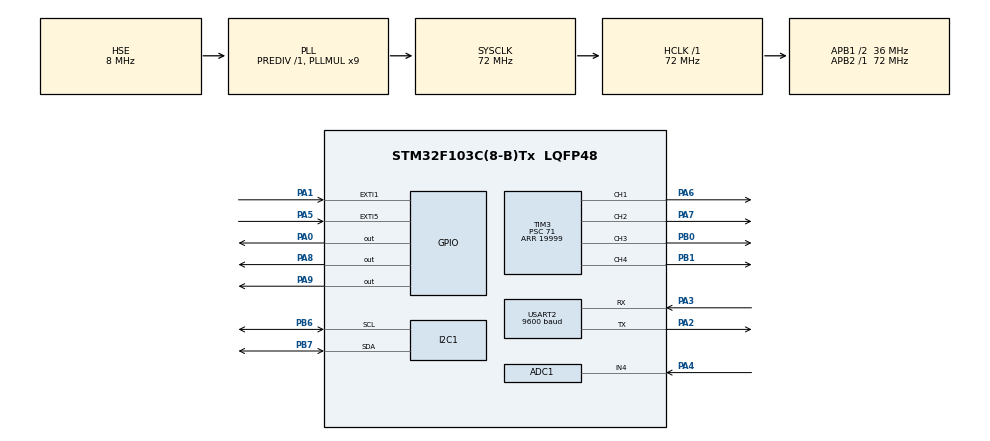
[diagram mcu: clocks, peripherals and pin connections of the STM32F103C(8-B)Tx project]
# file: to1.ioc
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ADC1.Channel-1\#ChannelRegularConversion=ADC_CHANNEL_4
ADC1.ContinuousConvMode=ENABLE
ADC1.NbrOfConversionFlag=1
ADC1.Rank-1\#ChannelRegularConversion=1
ADC1.SamplingTime-1\#ChannelRegularConversion=ADC_SAMPLETIME_55CYCLES_5
ADC1.master=1
Dma.ADC1.0.Direction=DMA_PERIPH_TO_MEMORY
Dma.ADC1.0.Instance=DMA1_Channel1
Dma.ADC1.0.MemDataAlignment=DMA_MDATAALIGN_HALFWORD
Dma.ADC1.0.MemInc=DMA_MINC_ENABLE
Dma.ADC1.0.Mode=DMA_CIRCULAR
Dma.ADC1.0.PeriphDataAlignment=DMA_PDATAALIGN_HALFWORD
Dma.ADC1.0.PeriphInc=DMA_PINC_DISABLE
Dma.ADC1.0.Priority=DMA_PRIORITY_LOW
Dma.Request0=ADC1
Mcu.Family=STM32F1
Mcu.Name=STM32F103C(8-B)Tx
Mcu.Package=LQFP48
NVIC.ADC1_2_IRQn=true\:0\:0\:false\:false\:true\:true\:true
NVIC.DMA1_Channel1_IRQn=true\:0\:0\:false\:false\:true\:false\:true
NVIC.EXTI1_IRQn=true\:0\:0\:false\:false\:true\:true\:true
NVIC.EXTI9_5_IRQn=true\:0\:0\:false\:false\:true\:true\:true
NVIC.PriorityGroup=NVIC_PRIORITYGROUP_4
NVIC.TIM4_IRQn=true\:0\:0\:false\:false\:true\:true\:true
NVIC.USART2_IRQn=true\:0\:0\:false\:false\:true\:true\:true
PA0-WKUP.Signal=GPIO_Output
PA1.Signal=GPXTI1
PA13.Mode=Serial_Wire
PA13.Signal=SYS_JTMS-SWDIO
PA14.Mode=Serial_Wire
PA14.Signal=SYS_JTCK-SWCLK
PA2.Mode=Asynchronous
PA2.Signal=USART2_TX
PA3.Mode=Asynchronous
PA3.Signal=USART2_RX
PA4.Signal=SharedAnalog_PA4
PA5.GPIO_PuPd=GPIO_PULLDOWN
PA5.Signal=GPXTI5
PA6.Signal=S_TIM3_CH1
PA7.Signal=S_TIM3_CH2
PA8.Signal=GPIO_Output
PA9.Signal=GPIO_Output
PB0.Signal=S_TIM3_CH3
PB1.Signal=S_TIM3_CH4
PB6.Mode=I2C
PB6.Signal=I2C1_SCL
PB7.Mode=I2C
PB7.Signal=I2C1_SDA
PD0-OSC_IN.Mode=HSE-External-Oscillator
PD0-OSC_IN.Signal=RCC_OSC_IN
PD1-OSC_OUT.Mode=HSE-External-Oscillator
PD1-OSC_OUT.Signal=RCC_OSC_OUT
ProjectManager.HeapSize=0x200
ProjectManager.StackSize=0x400
ProjectManager.TargetToolchain=MDK-ARM V5.27
RCC.ADCPresc=RCC_ADCPCLK2_DIV6
RCC.AHBFreq_Value=72000000
RCC.APB1CLKDivider=RCC_HCLK_DIV2
RCC.APB1Freq_Value=36000000
RCC.APB1TimFreq_Value=72000000
RCC.APB2Freq_Value=72000000
RCC.APB2TimFreq_Value=72000000
RCC.HCLKFreq_Value=72000000
RCC.PLLMUL=RCC_PLL_MUL9
RCC.PLLSourceVirtual=RCC_PLLSOURCE_HSE
RCC.SYSCLKFreq_VALUE=72000000
RCC.SYSCLKSource=RCC_SYSCLKSOURCE_PLLCLK
RCC.USBFreq_Value=72000000
SH.S_TIM3_CH1.0=TIM3_CH1,PWM Generation1 CH1
SH.S_TIM3_CH2.0=TIM3_CH2,PWM Generation2 CH2
SH.S_TIM3_CH3.0=TIM3_CH3,PWM Generation3 CH3
SH.S_TIM3_CH4.0=TIM3_CH4,PWM Generation4 CH4
SH.SharedAnalog_PA4.0=GPIO_Analog
SH.SharedAnalog_PA4.1=ADC1_IN4,IN4
TIM1.Period=65535
TIM1.Prescaler=71
TIM2.Period=65535
TIM2.Prescaler=71
TIM3.Channel-PWM\ Generation1\ CH1=TIM_CHANNEL_1
TIM3.Channel-PWM\ Generation2\ CH2=TIM_CHANNEL_2
TIM3.Channel-PWM\ Generation3\ CH3=TIM_CHANNEL_3
TIM3.Channel-PWM\ Generation4\ CH4=TIM_CHANNEL_4
TIM3.Period=19999
TIM3.Prescaler=71
TIM3.Pulse-PWM\ Generation1\ CH1=1500
TIM3.Pulse-PWM\ Generation2\ CH2=1500
TIM3.Pulse-PWM\ Generation3\ CH3=1500
TIM3.Pulse-PWM\ Generation4\ CH4=1500
TIM4.Period=1999
TIM4.Prescaler=719
USART2.BaudRate=9600
USART2.VirtualMode=VM_ASYNC
VP_TIM1_VS_ClockSourceINT.Mode=Internal
VP_TIM2_VS_ClockSourceINT.Mode=Internal
VP_TIM3_VS_ClockSourceINT.Mode=Internal
VP_TIM4_VS_ClockSourceINT.Mode=Internal
board=custom

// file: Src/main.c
/* USER CODE BEGIN Header */
/**
  ******************************************************************************
  * @file           : main.c
  * @brief          : Main program body
  ******************************************************************************
  * @attention
  *
  * <h2><center>&copy; Copyright (c) 2020 STMicroelectronics.
  * All rights reserved.</center></h2>
  *
  * This software component is licensed by ST under BSD 3-Clause license,
  * the "License"; You may not use this file except in compliance with the
  * License. You may obtain a copy of the License at:
  *                        opensource.org/licenses/BSD-3-Clause
  *
  ******************************************************************************
  */
/* USER CODE END Header */

#include "main.h"
#include "adc.h"
#include "dma.h"
#include "i2c.h"
#include "tim.h"
#include "usart.h"
#include "gpio.h"

/* USER CODE BEGIN Includes */

#include "mpu9250.h"
#include "math.h"
#include "inv_mpu_dmp_motion_driver.h"
#include "inv_mpu.h"
/* USER CODE END Includes */

/* USER CODE BEGIN PTD */
#define ROLL     0
#define PITCH    1
#define YAW      2

#define XAXIS    0
#define YAXIS    1
#define ZAXIS    2
#define SQR(x)  ((x) * (x))
#define Kp 5.0f                       // proportional gain governs rate of convergence toaccelerometer/magnetometer
	 //Kp比例增益 决定了加速度计和磁力计的收敛速度
#define Ki 0.002f          // integral gain governs rate of convergenceof gyroscope biases
		//Ki积分增益 决定了陀螺仪偏差的收敛速度
     // half the sample period
		//halfT采样周期的一半

static float q0=1.0f,q1=0.0f,q2=0.0f,q3=0.0f;
static float exInt = 0, eyInt = 0, ezInt = 0;
float init_ax, init_ay, init_az, init_gx, init_gy, init_gz, init_mx, init_my, init_mz;
//static signed short int turns=0;
//static float newdata=0.0f,olddata=0.0f;

//static float pitchoffset,rolloffset,yawoffset;

static float halfT=0;
static float k10=0.0f,k11=0.0f,k12=0.0f,k13=0.0f;
static float k20=0.0f,k21=0.0f,k22=0.0f,k23=0.0f;
static float k30=0.0f,k31=0.0f,k32=0.0f,k33=0.0f;
static float k40=0.0f,k41=0.0f,k42=0.0f,k43=0.0f;

float pitch,roll,yaw;
float invSqrt(float number);
void AHRSupdate(float gx, float gy, float gz, float ax, float ay, float az, float mx, float my, float mz,float *roll,float *pitch,float *yaw);
void CountTurns(float *newdata,float *olddata,signed short int *turns);
void CalYaw(float *yaw,signed short int *turns);
void CalibrateToZero(void);
void init_quaternion(void);
uint16_t sphereFit(float    d[][3],
                   uint16_t N,
                   uint16_t MaxIterations,
                   float    Err,
                   uint16_t Population[][3],
                   float    SphereOrigin[],
                   float     *SphereRadius);

const float x=2.718f;
const uint32_t addr = 0x0800FC00;

void writeFlashTest(float a, float b, float c)
{
  HAL_FLASH_Unlock();

	FLASH_EraseInitTypeDef f;
	f.TypeErase = FLASH_TYPEERASE_PAGES;
	f.PageAddress = addr;
	f.NbPages = 1;

	uint32_t PageError = 0;

	HAL_FLASHEx_Erase(&f, &PageError);

	HAL_FLASH_Program(FLASH_TYPEPROGRAM_WORD, addr, *((uint32_t *)&x));
		HAL_FLASH_Program(FLASH_TYPEPROGRAM_WORD, addr+4, *((uint32_t *)&a));
		HAL_FLASH_Program(FLASH_TYPEPROGRAM_WORD, addr+8, *((uint32_t *)&b));
		HAL_FLASH_Program(FLASH_TYPEPROGRAM_WORD, addr+12, *((uint32_t *)&c));

  HAL_FLASH_Lock();
}

float chexx(unsigned int a)
{
  float temp = *(__IO float*)(addr+a);
	return temp;
}

float chex(void)
{
  float temp = *(__IO float*)(addr);
	return temp;
}
/* USER CODE END PTD */

/* USER CODE BEGIN PV */
	uint16_t acd[1];
	int sr=0;
	int dis=10000;
	int trip=0;

	float    d[200][3];
    float    sphereOrigin[3];
    float    sphereRadius;
   uint16_t population[2][3];
/* USER CODE END PV */

void SystemClock_Config(void);

/* USER CODE BEGIN 0 */
int fputc(int ch,FILE *f)
{
    uint8_t temp[1]={ch};
    HAL_UART_Transmit(&huart2,temp,1,2);
		return 0;
}
/* USER CODE END 0 */

int main(void)
{
  /* USER CODE BEGIN 1 */
	struct int_param_s int_param;

//	signed short int test;

	signed short int igx,igy,igz;
	signed short int iax,iay,iaz;
	signed short int imx,imy,imz;
	float gx,gy,gz;
	float ax,ay,az;
	float mx,my,mz;
	int k;
  /* USER CODE END 1 */

  /* MCU Configuration--------------------------------------------------------*/

  /* Reset of all peripherals, Initializes the Flash interface and the Systick. */
  HAL_Init();

  /* Configure the system clock */
  SystemClock_Config();

  /* Initialize all configured peripherals */
  MX_GPIO_Init();

  MX_DMA_Init();
  MX_ADC1_Init();
  MX_I2C1_Init();
  MX_TIM1_Init();
  MX_TIM2_Init();
  MX_TIM3_Init();
  MX_TIM4_Init();
  MX_USART2_UART_Init();
  /* USER CODE BEGIN 2 */
	HAL_TIM_PWM_Start(&htim3,TIM_CHANNEL_1);
	HAL_TIM_PWM_Start(&htim3,TIM_CHANNEL_2);
	HAL_TIM_PWM_Start(&htim3,TIM_CHANNEL_3);
	HAL_TIM_PWM_Start(&htim3,TIM_CHANNEL_4);
	HAL_ADC_Start_DMA(&hadc1,(uint32_t *)acd,1);
	HAL_TIM_Base_Start_IT(&htim1);

		mpu_init(&int_param);
	 mpu_set_sensors(INV_XYZ_GYRO | INV_XYZ_ACCEL | INV_XYZ_COMPASS);
	  MPU_Write_Byte(MPU9250_ADDR,MPU_PWR_MGMT1_REG,0X01);
	mpu_set_gyro_fsr(250);
	 mpu_set_accel_fsr(2);
	 mpu_set_lpf(98);
	 mpu_set_sample_rate(1000);
	mpu_set_bypass(1);
 HAL_Delay(200);
 if(chex()==x){
		magoffsetx = chexx(4);
		magoffsety = chexx(8);
		magoffsetz = chexx(12);
 }else{
	   for(k=0;k<200;k++){
	 		MPU_Get_Gyro(&igx,&igy,&igz,&gx,&gy,&gz);
			MPU_Get_Accel(&iax,&iay,&iaz,&ax,&ay,&az);
			MPU_Get_Mag(&imx,&imy,&imz,&mx,&my,&mz);
			d[k][XAXIS] = mx;
      d[k][YAXIS] = my;
      d[k][ZAXIS] = mz;
			HAL_Delay(100);
		}
			sphereFit(d, 200, 100, 0.0f, population, sphereOrigin, &sphereRadius);
			magoffsetx = sphereOrigin[XAXIS];
			magoffsety = sphereOrigin[YAXIS];
			magoffsetz = sphereOrigin[ZAXIS];
			writeFlashTest(magoffsetx,magoffsety,magoffsetz);
 }

 	HAL_UART_Receive_IT(&huart2,(uint8_t *)&value,1);
  HAL_TIM_Base_Start_IT(&htim2);
	HAL_TIM_Base_Start_IT(&htim4);
 HAL_GPIO_WritePin(GPIOA,GPIO_PIN_8,GPIO_PIN_SET);
  /* USER CODE END 2 */

  /* Infinite loop */
  while (1)
  {
				MPU_Get_Gyro(&igx,&igy,&igz,&gx,&gy,&gz);
				MPU_Get_Accel(&iax,&iay,&iaz,&ax,&ay,&az);
				MPU_Get_Mag(&imx,&imy,&imz,&mx,&my,&mz);

			AHRSupdate(gx,gy,gz,ax,ay,az,mx,my,mz,&roll,&pitch,&yaw);

		mx=GET_HALFNOWTIME();

		HAL_Delay(5);
  }
}

void SystemClock_Config(void)
{
  RCC_OscInitTypeDef RCC_OscInitStruct = {0};
  RCC_ClkInitTypeDef RCC_ClkInitStruct = {0};
  RCC_PeriphCLKInitTypeDef PeriphClkInit = {0};

  /** Initializes the CPU, AHB and APB busses clocks
  */
  RCC_OscInitStruct.OscillatorType = RCC_OSCILLATORTYPE_HSE;
  RCC_OscInitStruct.HSEState = RCC_HSE_ON;
  RCC_OscInitStruct.HSEPredivValue = RCC_HSE_PREDIV_DIV1;
  RCC_OscInitStruct.HSIState = RCC_HSI_ON;
  RCC_OscInitStruct.PLL.PLLState = RCC_PLL_ON;
  RCC_OscInitStruct.PLL.PLLSource = RCC_PLLSOURCE_HSE;
  RCC_OscInitStruct.PLL.PLLMUL = RCC_PLL_MUL9;
  if (HAL_RCC_OscConfig(&RCC_OscInitStruct) != HAL_OK)
  {
    Error_Handler();
  }
  /** Initializes the CPU, AHB and APB busses clocks
  */
  RCC_ClkInitStruct.ClockType = RCC_CLOCKTYPE_HCLK|RCC_CLOCKTYPE_SYSCLK
                              |RCC_CLOCKTYPE_PCLK1|RCC_CLOCKTYPE_PCLK2;
  RCC_ClkInitStruct.SYSCLKSource = RCC_SYSCLKSOURCE_PLLCLK;
  RCC_ClkInitStruct.AHBCLKDivider = RCC_SYSCLK_DIV1;
  RCC_ClkInitStruct.APB1CLKDivider = RCC_HCLK_DIV2;
  RCC_ClkInitStruct.APB2CLKDivider = RCC_HCLK_DIV1;

  if (HAL_RCC_ClockConfig(&RCC_ClkInitStruct, FLASH_LATENCY_2) != HAL_OK)
  {
    Error_Handler();
  }
  PeriphClkInit.PeriphClockSelection = RCC_PERIPHCLK_ADC;
  PeriphClkInit.AdcClockSelection = RCC_ADCPCLK2_DIV6;
  if (HAL_RCCEx_PeriphCLKConfig(&PeriphClkInit) != HAL_OK)
  {
    Error_Handler();
  }
}

/* USER CODE BEGIN 4 */

float invSqrt(float number)
{
	long i;
	float x,y;
	const float f=1.5f;

	x=number*0.5f;
	y=number;
	i=*((long*)&y);
	i=0x5f375a86-(i>>1);
	y=*((float *)&i);
	y=y*(f-(x*y*y));
	return y;
}

void AHRSupdate(float gx, float gy, float gz, float ax, float ay, float az, float mx, float my, float mz,float *roll,float *pitch,float *yaw)
{
           float norm;									//用于单位化
           float hx, hy, hz, bx, bz;		//
           float vx, vy, vz, wx, wy, wz;
           float ex, ey, ez;
//					 float tmp0,tmp1,tmp2,tmp3;

           // auxiliary variables to reduce number of repeated operations  辅助变量减少重复操作次数
           float q0q0 = q0*q0;
           float q0q1 = q0*q1;
           float q0q2 = q0*q2;
           float q0q3 = q0*q3;
           float q1q1 = q1*q1;
           float q1q2 = q1*q2;
           float q1q3 = q1*q3;
           float q2q2 = q2*q2;
           float q2q3 = q2*q3;
           float q3q3 = q3*q3;

           // normalise the measurements  对加速度计和磁力计数据进行规范化
           norm = invSqrt(ax*ax + ay*ay + az*az);
           ax = ax * norm;
           ay = ay * norm;
           az = az * norm;
           norm = invSqrt(mx*mx + my*my + mz*mz);
           mx = mx * norm;
           my = my * norm;
           mz = mz * norm;
//
//					printf("%0.2f %0.2f %0.2f ",mx,my,mz);

//					printf("hx=%0.2f hy=%0.2f hz=%0.2f ",hx,hy,hz);
//					printf("q0=%0.2f q1=%0.2f q2=%0.2f q3=%0.2f ",q0,q1,q2,q3);
// estimated direction of gravity and magnetic field (v and w)  //估计重力和磁场的方向
//vx,vy,vz是重力加速度在物体坐标系的表示
           vx = 2.0f*(q1q3 - q0q2);
           vy = 2.0f*(q0q1 + q2q3);
           vz = q0q0 - q1q1 - q2q2 + q3q3;

					            // compute reference direction of magnetic field  计算磁场的参考方向
					 //hx,hy,hz是mx,my,mz在参考坐标系的表示
           hx = 2.0f*mx*(0.5f - q2q2 - q3q3) + 2.0f*my*(q1q2 - q0q3) + 2.0f*mz*(q1q3 + q0q2);
           hy = 2.0f*mx*(q1q2 + q0q3) + 2.0f*my*(0.5f - q1q1 - q3q3) + 2.0f*mz*(q2q3 - q0q1);
           hz = 2.0f*mx*(q1q3 - q0q2) + 2.0f*my*(q2q3 + q0q1) + 2.0f*mz*(0.5f - q1q1 -q2q2);
						//bx,by,bz是地球磁场在参考坐标系的表示
           bx = sqrtf((hx*hx) + (hy*hy));
           bz = hz;

//						printf("%f %f ",bx,bz);
					 //wx,wy,wz是地磁场在物体坐标系的表示
           wx = 2.0f*bx*(0.5f - q2q2 - q3q3) + 2.0f*bz*(q1q3 - q0q2);
           wy = 2.0f*bx*(q1q2 - q0q3) + 2.0f*bz*(q0q1 + q2q3);
           wz = 2.0f*bx*(q0q2 + q1q3) + 2.0f*bz*(0.5f - q1q1 - q2q2);

////
//					printf("wx=%0.2f wy=%0.2f wz=%0.2f mx=%0.2f my=%0.2f mz=%0.2f ",wx,wy,wz,mx,my,mz);
// error is sum ofcross product between reference direction of fields and directionmeasured by sensors
//ex,ey,ez是加速度计与磁力计测量出的方向与实际重力加速度与地磁场方向的误差，误差用叉积来表示，且加速度计与磁力计的权重是一样的
           ex = (ay*vz - az*vy) + (my*wz - mz*wy);
           ey = (az*vx - ax*vz) + (mz*wx - mx*wz);
           ez = (ax*vy - ay*vx) + (mx*wy - my*wx);
// ez = (mx*wy - my*wx);
//					 ex = (ay*vz - az*vy);
//           ey = (az*vx - ax*vz);
//           ez = (ax*vy - ay*vx) + (mx*wy - my*wx);
//					printf("eaz=%0.2f emz=%0.2f  ",(ax*vy - ay*vx),(mx*wy - my*wx));
           // integral error scaled integral gain
					 //积分误差

				halfT=GET_HALFNOWTIME();

//			if(ex != 0.0f && ey != 0.0f && ez != 0.0f)
			{
           exInt = exInt + ex*halfT;
           eyInt = eyInt + ey*halfT;
           ezInt = ezInt + ez*halfT;

					// printf("exInt=%0.1f eyInt=%0.1f ezInt=%0.1f ",exInt,eyInt,ezInt);
           // adjusted gyroscope measurements
					 //PI调节陀螺仪数据
           gx = gx + Kp*ex + Ki*exInt;
           gy = gy + Kp*ey + Ki*eyInt;
           gz = gz + Kp*ez + Ki*ezInt;

			}
//					 printf("x=%0.1f y=%0.1f z=%0.1f	",Kp*ex + exInt,Kp*ey + eyInt,Kp*ez + ezInt);

           // integrate quaernion rate aafnd normalaizle
					 //欧拉法解微分方程

//
//           tmp0 = q0 + (-q1*gx - q2*gy - q3*gz)*halfT;
//           tmp1 = q1 + ( q0*gx + q2*gz - q3*gy)*halfT;
//           tmp2 = q2 + ( q0*gy - q1*gz + q3*gx)*halfT;
//           tmp3 = q3 + ( q0*gz + q1*gy - q2*gx)*halfT;
//					 q0=tmp0;
//					 q1=tmp1;
//					 q2=tmp2;
//					 q3=tmp3;
					 //printf("q0=%0.1f q1=%0.1f q2=%0.1f q3=%0.1f",q0,q1,q2,q3);
////RUNGE_KUTTA 法解微分方程
					  k10=0.5 * (-gx*q1 - gy*q2 - gz*q3);
						k11=0.5 * ( gx*q0 + gz*q2 - gy*q3);
						k12=0.5 * ( gy*q0 - gz*q1 + gx*q3);
						k13=0.5 * ( gz*q0 + gy*q1 - gx*q2);

						k20=0.5 * (halfT*(q0+halfT*k10) + (halfT-gx)*(q1+halfT*k11) + (halfT-gy)*(q2+halfT*k12) + (halfT-gz)*(q3+halfT*k13));
						k21=0.5 * ((halfT+gx)*(q0+halfT*k10) + halfT*(q1+halfT*k11) + (halfT+gz)*(q2+halfT*k12) + (halfT-gy)*(q3+halfT*k13));
						k22=0.5 * ((halfT+gy)*(q0+halfT*k10) + (halfT-gz)*(q1+halfT*k11) + halfT*(q2+halfT*k12) + (halfT+gx)*(q3+halfT*k13));
						k23=0.5 * ((halfT+gz)*(q0+halfT*k10) + (halfT+gy)*(q1+halfT*k11) + (halfT-gx)*(q2+halfT*k12) + halfT*(q3+halfT*k13));

						k30=0.5 * (halfT*(q0+halfT*k20) + (halfT-gx)*(q1+halfT*k21) + (halfT-gy)*(q2+halfT*k22) + (halfT-gz)*(q3+halfT*k23));
						k31=0.5 * ((halfT+gx)*(q0+halfT*k20) + halfT*(q1+halfT*k21) + (halfT+gz)*(q2+halfT*k22) + (halfT-gy)*(q3+halfT*k23));
						k32=0.5 * ((halfT+gy)*(q0+halfT*k20) + (halfT-gz)*(q1+halfT*k21) + halfT*(q2+halfT*k22) + (halfT+gx)*(q3+halfT*k23));
						k33=0.5 * ((halfT+gz)*(q0+halfT*k20) + (halfT+gy)*(q1+halfT*k21) + (halfT-gx)*(q2+halfT*k22) + halfT*(q3+halfT*k23));

						k40=0.5 * (2*halfT*(q0+2*halfT*k30) + (2*halfT-gx)*(q1+2*halfT*k31) + (2*halfT-gy)*(q2+2*halfT*k32) + (2*halfT-gz)*(q3+2*halfT*k33));
						k41=0.5 * ((2*halfT+gx)*(q0+2*halfT*k30) + 2*halfT*(q1+2*halfT*k31) + (2*halfT+gz)*(q2+2*halfT*k32) + (2*halfT-gy)*(q3+2*halfT*k33));
						k42=0.5 * ((2*halfT+gy)*(q0+2*halfT*k30) + (2*halfT-gz)*(q1+2*halfT*k31) + 2*halfT*(q2+2*halfT*k32) + (2*halfT+gx)*(q3+2*halfT*k33));
						k43=0.5 * ((2*halfT+gz)*(q0+2*halfT*k30) + (2*halfT+gy)*(q1+2*halfT*k31) + (2*halfT-gx)*(q2+2*halfT*k32) + 2*halfT*(q3+2*halfT*k33));

						q0=q0 + 2*halfT/6.0 * (k10+2*k20+2*k30+k40);
						q1=q1 + 2*halfT/6.0 * (k11+2*k21+2*k31+k41);
						q2=q2 + 2*halfT/6.0 * (k12+2*k22+2*k32+k42);
						q3=q3 + 2*halfT/6.0 * (k13+2*k23+2*k33+k43);

           // normalise quaternion
           norm = invSqrt(q0*q0 + q1*q1 + q2*q2 + q3*q3);
           q0 = q0 * norm;
           q1 = q1 * norm;
           q2 = q2 * norm;
           q3 = q3 * norm;

					 *pitch = -asin(-2 * q1 * q3 + 2 * q0 * q2)* 57.3;	// pitch
					 *roll  = atan2(2 * q2 * q3 + 2 * q0 * q1, -2 * q1 * q1 - 2 * q2 * q2 + 1)* 57.3;	// roll
					 *yaw   = -atan2(2*(q1*q2 + q0*q3),q0*q0+q1*q1-q2*q2-q3*q3) * 57.3;	//yaw

}

uint16_t sphereFit(float    d[][3],
                   uint16_t N,
                   uint16_t MaxIterations,
                   float    Err,
                   uint16_t Population[][3],
                   float    SphereOrigin[],
                   float     *SphereRadius)
{
    uint8_t  c;
    uint16_t i, Iterations;
    float    s[3], s2[3], s3[3], sum[3], sum2[3], sum3[3];
    float    x2sum[3], y2sum[3], z2sum[3];
    float    xy_sum, xz_sum, yz_sum;
    float    XY, XZ, YZ, X2Z, Y2X, Y2Z, Z2X, X2Y, Z2Y;
    float    QS, QB, Q0, Q1, Q2;
    float    R2, C[3], C2[3], Delta[3], Denom[3];
    float    F0, F1, F2, F3, F4;
    float    di2[3];
    float    SizeR;

    for (c = XAXIS; c <= ZAXIS; c++)
    {
        s[c] = s2[c] = s3[c] = sum[c] = x2sum[c] = y2sum[c] = z2sum[c] = 0.0f;

        Population[0][c] = Population[1][c] = 0;
    }

    xy_sum = xz_sum = yz_sum = 0.0f;

    for (i = 0; i < N; i++)
    {
        for (c = XAXIS; c <= ZAXIS; c++)
        {
            di2[c] = SQR(d[i][c]);

            s[c]  += d[i][c];
            s2[c] += di2[c];
            s3[c] += di2[c] * d[i][c];

            Population[d[i][c] > 0.0f][c]++;
        }

        xy_sum += d[i][XAXIS] * d[i][YAXIS];
        xz_sum += d[i][XAXIS] * d[i][ZAXIS];
        yz_sum += d[i][YAXIS] * d[i][ZAXIS];

        x2sum[YAXIS] += di2[XAXIS] * d[i][YAXIS];
        x2sum[ZAXIS] += di2[XAXIS] * d[i][ZAXIS];

        y2sum[XAXIS] += di2[YAXIS] * d[i][XAXIS];
        y2sum[ZAXIS] += di2[YAXIS] * d[i][ZAXIS];

        z2sum[XAXIS] += di2[ZAXIS] * d[i][XAXIS];
        z2sum[YAXIS] += di2[ZAXIS] * d[i][YAXIS];
    }

    SizeR = 1.0f / (float) N;

    for (c = XAXIS; c <= ZAXIS; c++)
    {
        sum[c]  = s[c]  * SizeR; //sum( X[n]   )
        sum2[c] = s2[c] * SizeR; //sum( X[n]^2 )
        sum3[c] = s3[c] * SizeR; //sum( X[n]^3 )
    }

    XY = xy_sum * SizeR;         //sum( X[n] * Y[n] )
    XZ = xz_sum * SizeR;         //sum( X[n] * Z[n] )
    YZ = yz_sum * SizeR;         //sum( Y[n] * Z[n] )

    X2Y = x2sum[YAXIS] * SizeR;  //sum( X[n]^2 * Y[n] )
    X2Z = x2sum[ZAXIS] * SizeR;  //sum( X[n]^2 * Z[n] )
    Y2X = y2sum[XAXIS] * SizeR;  //sum( Y[n]^2 * X[n] )
    Y2Z = y2sum[ZAXIS] * SizeR;  //sum( Y[n]^2 * Z[n] )
    Z2X = z2sum[XAXIS] * SizeR;  //sum( Z[n]^2 * X[n] )
    Z2Y = z2sum[YAXIS] * SizeR;  //sum( Z[n]^2 * Y[n] )

    //Reduction of multiplications
    F0 = sum2[XAXIS] + sum2[YAXIS] + sum2[ZAXIS];
    F1 = 0.5f * F0;
    F2 = -8.0f * (sum3[XAXIS] + Y2X + Z2X);
    F3 = -8.0f * (X2Y + sum3[YAXIS] + Z2Y);
    F4 = -8.0f * (X2Z + Y2Z + sum3[ZAXIS]);

    for (c = XAXIS; c <= ZAXIS; c++)
    {
        C[c]  = sum[c];
        C2[c] = SQR(C[c]);
    }

    QS = C2[XAXIS] + C2[YAXIS] + C2[ZAXIS];
    QB = -2.0f * (SQR(C[XAXIS]) + SQR(C[YAXIS]) + SQR(C[ZAXIS]));
    R2 = F0 + QB + QS;
    Q0 = 0.5f * (QS - R2);
    Q1 = F1 + Q0;
    Q2 = 8.0f * (QS - R2 + QB + F0);

    Iterations = 0;

    do
    {
        for (c = XAXIS; c <= ZAXIS; c++)
        {
            Denom[c] = Q2 + 16.0f * (C2[c] - 2.0f * C[c] * sum[c] + sum2[c]);

            if (Denom[c] == 0.0f)
                Denom[c] = 1.0f;
        }

        Delta[XAXIS] = -((F2 + 16.0f * (C[YAXIS] * XY + C[ZAXIS] * XZ + sum[XAXIS] * (-C2[XAXIS] - Q0)
                                        + C[XAXIS] * (sum2[XAXIS] + Q1 - C[ZAXIS] * sum[ZAXIS] - C[YAXIS] * sum[YAXIS]))) / Denom[XAXIS]);

        Delta[YAXIS] = -((F3 + 16.0f * (C[XAXIS] * XY + C[ZAXIS] * YZ + sum[YAXIS] * (-C2[YAXIS] - Q0)
                                        + C[YAXIS] * (sum2[YAXIS] + Q1 - C[XAXIS] * sum[XAXIS] - C[ZAXIS] * sum[ZAXIS]))) / Denom[YAXIS]);

        Delta[ZAXIS] = -((F4 + 16.0f * (C[XAXIS] * XZ + C[YAXIS] * YZ + sum[ZAXIS] * (-C2[ZAXIS] - Q0)
                                        + C[ZAXIS] * (sum2[ZAXIS] + Q1 - C[XAXIS] * sum[XAXIS] - C[YAXIS] * sum[YAXIS]))) / Denom[ZAXIS]);

        for (c = XAXIS; c <= ZAXIS; c++)
        {
            C[c] += Delta[c];
            C2[c] = SQR(C[c]);
        }

        QS = C2[XAXIS] + C2[YAXIS] + C2[ZAXIS];
        QB = -2.0f * (C[XAXIS] * sum[XAXIS] + C[YAXIS] * sum[YAXIS] + C[ZAXIS] * sum[ZAXIS]);
        R2 = F0 + QB + QS;
        Q0 = 0.5f * (QS - R2);
        Q1 = F1 + Q0;
        Q2 = 8.0f * (QS - R2 + QB + F0);

        Iterations++;
    }
    while ((Iterations < 50) || ((Iterations < MaxIterations) && ((SQR(Delta[XAXIS]) + SQR(Delta[YAXIS]) + SQR(Delta[ZAXIS])) > Err)));

    for (c = XAXIS; c <= ZAXIS; c++)
        SphereOrigin[c] = C[c];

    *SphereRadius = sqrt(R2);

    return (Iterations);
}
/* USER CODE END 4 */

void Error_Handler(void)
{
}

/************************ (C) COPYRIGHT STMicroelectronics *****END OF FILE****/
